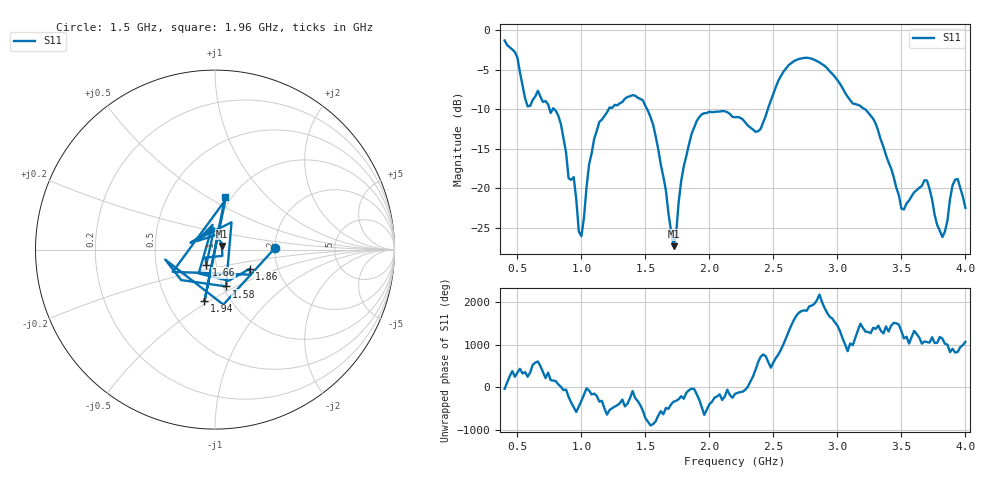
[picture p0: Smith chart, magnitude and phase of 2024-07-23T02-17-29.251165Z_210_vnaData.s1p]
!Created with skrf (http://scikit-rf.org).
# Hz S RI R 50.0
!freq ReS11 ImS11
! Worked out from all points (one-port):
!   181 points, 400 MHz to 4 GHz, reference 50 ohm
!   lowest |S11| = -27.3 dB at 1.72 GHz (marker M1), VSWR 1.09, Z = 53.9 + j2.16 ohm
!   |S11| at or under -10 dB: 789.5 MHz to 1.212 GHz (422.6 MHz wide, 42.2 % of centre); 1.514 GHz to 2.456 GHz (941.4 MHz wide, 47.4 % of centre); 3.218 GHz to end of sweep (the widest 3 of 4)
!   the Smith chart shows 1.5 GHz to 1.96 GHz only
!   S11 on the Smith chart (normalised r, x): 1.5 GHz: 1.99, +0.03; 1.58 GHz: 1.03, -0.44; 1.66 GHz: 0.89, -0.15; 1.86 GHz: 1.43, -0.32; 1.94 GHz: 0.76, -0.48; 1.96 GHz: 0.93, +0.60
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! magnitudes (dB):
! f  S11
! 400 MHz  -1.3
! 500 MHz  -3.4
! 580 MHz  -9.6
! 660 MHz  -7.6
! 860 MHz  -13.7
! 940 MHz  -18.6
! 1 GHz  -26.0
! 1.1 GHz  -13.7
! 1.3 GHz  -9.2
! 1.5 GHz  -9.6
! 1.58 GHz  -13.4
! 1.66 GHz  -20.2
! 1.72 GHz  -27.3
! 1.76 GHz  -21.7
! 1.86 GHz  -13.1
! 1.94 GHz  -10.6
! 1.96 GHz  -10.5
! 2.2 GHz  -11.0
! 2.4 GHz  -12.5
! 2.66 GHz  -3.9
! 3.1 GHz  -8.8
! 3.3 GHz  -11.8
! 3.5 GHz  -22.5
! 3.56 GHz  -21.5
! 3.7 GHz  -19.0
! 3.82 GHz  -26.2
! 3.92 GHz  -18.9
! 4 GHz  -22.5
